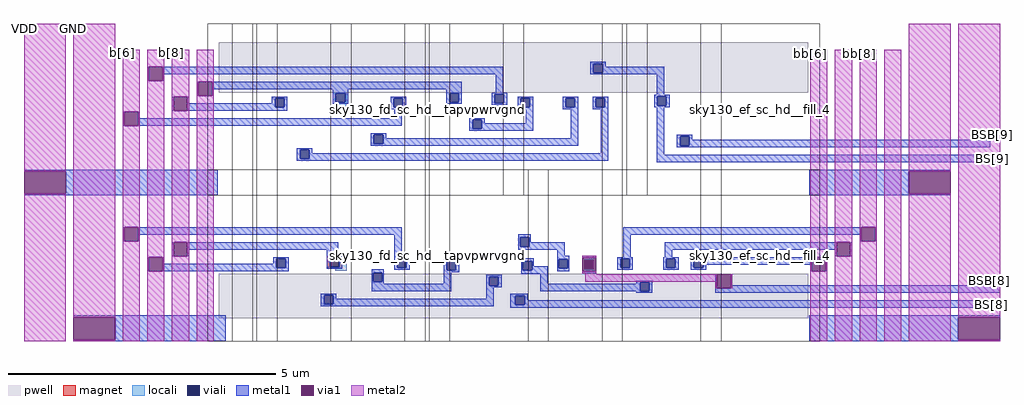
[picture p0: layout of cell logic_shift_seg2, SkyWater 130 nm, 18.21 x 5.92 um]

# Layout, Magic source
magic
tech sky130A
magscale 1 2
<< magnet >>
rect 5029 -3512 5087 -3466
<< pwell >>
rect 4625 -2855 6825 -2667
rect 4625 -3696 6825 -3531
<< locali >>
rect 5058 -2891 5063 -2857
rect 5097 -2891 5104 -2857
rect 5058 -2892 5104 -2891
rect 5058 -2911 5102 -2892
rect 5061 -3472 5103 -3469
rect 5075 -3506 5103 -3472
rect 5061 -3519 5103 -3506
<< viali >>
rect 6024 -2780 6058 -2746
rect 4836 -2910 4870 -2876
rect 5063 -2891 5097 -2857
rect 5279 -2910 5313 -2876
rect 5487 -2891 5521 -2857
rect 5656 -2895 5690 -2861
rect 5753 -2910 5787 -2876
rect 5921 -2910 5955 -2876
rect 6033 -2910 6067 -2876
rect 6262 -2903 6296 -2869
rect 5573 -2990 5607 -2956
rect 5205 -3046 5239 -3012
rect 6347 -3052 6381 -3018
rect 4929 -3102 4963 -3068
rect 5750 -3429 5784 -3395
rect 4841 -3509 4875 -3475
rect 5041 -3506 5075 -3472
rect 5292 -3509 5326 -3475
rect 5477 -3518 5511 -3484
rect 5761 -3518 5795 -3484
rect 5894 -3510 5928 -3476
rect 5990 -3513 6024 -3479
rect 6125 -3509 6159 -3475
rect 6296 -3509 6330 -3475
rect 6399 -3509 6433 -3475
rect 5202 -3560 5236 -3526
rect 5635 -3575 5669 -3541
rect 6198 -3596 6232 -3562
rect 5019 -3645 5053 -3611
rect 5733 -3647 5767 -3613
<< metal1 >>
rect 6012 -2746 6070 -2740
rect 4359 -2810 4365 -2758
rect 4417 -2786 5687 -2758
rect 6012 -2780 6024 -2746
rect 6058 -2758 6070 -2746
rect 6058 -2780 6289 -2758
rect 6012 -2786 6289 -2780
rect 4417 -2810 4423 -2786
rect 4543 -2866 4549 -2814
rect 4601 -2842 5533 -2814
rect 4601 -2866 4607 -2842
rect 5051 -2857 5109 -2842
rect 4451 -2922 4457 -2870
rect 4509 -2894 4515 -2870
rect 4824 -2876 4882 -2870
rect 4824 -2894 4836 -2876
rect 4509 -2910 4836 -2894
rect 4870 -2910 4882 -2876
rect 5051 -2891 5063 -2857
rect 5097 -2891 5109 -2857
rect 5475 -2857 5533 -2842
rect 5659 -2855 5687 -2786
rect 5051 -2897 5109 -2891
rect 5267 -2876 5325 -2870
rect 4509 -2922 4882 -2910
rect 5267 -2910 5279 -2876
rect 5313 -2910 5325 -2876
rect 5475 -2891 5487 -2857
rect 5521 -2891 5533 -2857
rect 5475 -2897 5533 -2891
rect 5644 -2861 5702 -2855
rect 5644 -2895 5656 -2861
rect 5690 -2895 5702 -2861
rect 6261 -2863 6289 -2786
rect 6250 -2869 6308 -2863
rect 5644 -2901 5702 -2895
rect 5741 -2876 5799 -2870
rect 5267 -2916 5325 -2910
rect 5741 -2910 5753 -2876
rect 5787 -2910 5799 -2876
rect 5741 -2916 5799 -2910
rect 5909 -2876 5967 -2870
rect 5909 -2910 5921 -2876
rect 5955 -2910 5967 -2876
rect 5909 -2916 5967 -2910
rect 6021 -2876 6079 -2870
rect 6021 -2910 6033 -2876
rect 6067 -2910 6079 -2876
rect 6250 -2903 6262 -2869
rect 6296 -2903 6308 -2869
rect 6250 -2909 6308 -2903
rect 6021 -2916 6079 -2910
rect 4267 -2978 4273 -2926
rect 4325 -2950 4331 -2926
rect 5281 -2950 5309 -2916
rect 4325 -2978 5309 -2950
rect 5561 -2956 5619 -2950
rect 5561 -2990 5573 -2956
rect 5607 -2968 5619 -2956
rect 5771 -2968 5799 -2916
rect 5607 -2990 5799 -2968
rect 5561 -2996 5799 -2990
rect 5193 -3012 5251 -3006
rect 5193 -3046 5205 -3012
rect 5239 -3024 5251 -3012
rect 5939 -3024 5967 -2916
rect 5239 -3046 5967 -3024
rect 5193 -3052 5967 -3046
rect 4917 -3068 4975 -3062
rect 4917 -3102 4929 -3068
rect 4963 -3080 4975 -3068
rect 6051 -3080 6079 -2916
rect 4963 -3102 6079 -3080
rect 4917 -3108 6079 -3102
rect 6260 -3086 6288 -2909
rect 6335 -3018 6393 -3012
rect 6335 -3052 6347 -3018
rect 6381 -3030 6393 -3018
rect 7477 -3026 7541 -2998
rect 7477 -3030 7505 -3026
rect 6381 -3052 7505 -3030
rect 6335 -3058 7505 -3052
rect 6260 -3114 7541 -3086
rect 3899 -3148 4622 -3142
rect 4055 -3232 4622 -3148
rect 3899 -3238 4622 -3232
rect 6830 -3148 7357 -3142
rect 6830 -3232 7201 -3148
rect 6830 -3238 7357 -3232
rect 4267 -3409 4273 -3357
rect 4325 -3385 5308 -3357
rect 4325 -3409 4331 -3385
rect 4451 -3465 4457 -3413
rect 4509 -3441 5072 -3413
rect 4509 -3465 4515 -3441
rect 5029 -3466 5072 -3441
rect 4359 -3521 4365 -3469
rect 4417 -3493 4423 -3469
rect 4829 -3475 4887 -3469
rect 4829 -3493 4841 -3475
rect 4417 -3509 4841 -3493
rect 4875 -3509 4887 -3475
rect 4417 -3521 4887 -3509
rect 5029 -3472 5087 -3466
rect 5029 -3506 5041 -3472
rect 5075 -3506 5087 -3472
rect 5029 -3512 5087 -3506
rect 5280 -3469 5308 -3385
rect 5744 -3395 5790 -3383
rect 5744 -3429 5750 -3395
rect 5784 -3413 5790 -3395
rect 6136 -3385 7023 -3357
rect 5784 -3429 5916 -3413
rect 5744 -3441 5916 -3429
rect 5888 -3464 5916 -3441
rect 5280 -3475 5338 -3469
rect 5280 -3509 5292 -3475
rect 5326 -3509 5338 -3475
rect 5196 -3526 5242 -3514
rect 5280 -3515 5338 -3509
rect 5465 -3484 5523 -3478
rect 5196 -3560 5202 -3526
rect 5236 -3560 5242 -3526
rect 5196 -3567 5242 -3560
rect 5465 -3518 5477 -3484
rect 5511 -3518 5523 -3484
rect 5465 -3524 5523 -3518
rect 5755 -3484 5801 -3472
rect 5755 -3518 5761 -3484
rect 5795 -3502 5801 -3484
rect 5888 -3476 5934 -3464
rect 5795 -3518 5854 -3502
rect 5465 -3567 5493 -3524
rect 5755 -3530 5854 -3518
rect 5888 -3510 5894 -3476
rect 5928 -3510 5934 -3476
rect 5888 -3522 5934 -3510
rect 5982 -3470 6034 -3464
rect 6136 -3469 6164 -3385
rect 7017 -3409 7023 -3385
rect 7075 -3409 7081 -3357
rect 6290 -3441 6931 -3413
rect 6290 -3469 6318 -3441
rect 6925 -3465 6931 -3441
rect 6983 -3465 6989 -3413
rect 6113 -3475 6171 -3469
rect 6113 -3509 6125 -3475
rect 6159 -3509 6171 -3475
rect 6113 -3515 6171 -3509
rect 6284 -3475 6342 -3469
rect 6284 -3509 6296 -3475
rect 6330 -3509 6342 -3475
rect 6284 -3515 6342 -3509
rect 6387 -3475 6839 -3469
rect 6387 -3509 6399 -3475
rect 6433 -3497 6839 -3475
rect 6433 -3509 6445 -3497
rect 6387 -3515 6445 -3509
rect 6833 -3521 6839 -3497
rect 6891 -3521 6897 -3469
rect 5982 -3528 6034 -3522
rect 5196 -3595 5493 -3567
rect 5623 -3541 5681 -3535
rect 5623 -3575 5635 -3541
rect 5669 -3575 5681 -3541
rect 5623 -3581 5681 -3575
rect 5826 -3567 5854 -3530
rect 6184 -3562 6244 -3556
rect 6184 -3567 6198 -3562
rect 5007 -3611 5065 -3605
rect 5007 -3645 5019 -3611
rect 5053 -3623 5065 -3611
rect 5623 -3623 5651 -3581
rect 5826 -3595 6198 -3567
rect 6184 -3596 6198 -3595
rect 6232 -3596 6244 -3562
rect 6184 -3602 6244 -3596
rect 6478 -3584 6484 -3532
rect 6536 -3574 6542 -3532
rect 7489 -3574 7541 -3542
rect 6536 -3584 7541 -3574
rect 6478 -3602 7541 -3584
rect 5053 -3645 5651 -3623
rect 5007 -3651 5651 -3645
rect 5714 -3613 5779 -3606
rect 5714 -3647 5733 -3613
rect 5767 -3630 5779 -3613
rect 5767 -3647 7541 -3630
rect 5714 -3658 7541 -3647
rect 4083 -3692 4651 -3686
rect 4239 -3776 4651 -3692
rect 4083 -3782 4651 -3776
rect 6830 -3692 7541 -3686
rect 6830 -3776 7385 -3692
rect 6830 -3782 7541 -3776
<< via1 >>
rect 4365 -2810 4417 -2758
rect 4549 -2866 4601 -2814
rect 4457 -2922 4509 -2870
rect 4273 -2978 4325 -2926
rect 3899 -3232 4055 -3148
rect 7201 -3232 7357 -3148
rect 4273 -3409 4325 -3357
rect 4457 -3465 4509 -3413
rect 4365 -3521 4417 -3469
rect 7023 -3409 7075 -3357
rect 6931 -3465 6983 -3413
rect 5982 -3479 6034 -3470
rect 5982 -3513 5990 -3479
rect 5990 -3513 6024 -3479
rect 6024 -3513 6034 -3479
rect 5982 -3522 6034 -3513
rect 6839 -3521 6891 -3469
rect 6484 -3584 6536 -3532
rect 4083 -3776 4239 -3692
rect 7385 -3776 7541 -3692
<< metal2 >>
rect 3899 -3148 4055 -2598
rect 3899 -3782 4055 -3232
rect 4083 -3692 4239 -2598
rect 4083 -3782 4239 -3776
rect 4267 -2926 4331 -2694
rect 4267 -2978 4273 -2926
rect 4325 -2978 4331 -2926
rect 4267 -3357 4331 -2978
rect 4267 -3409 4273 -3357
rect 4325 -3409 4331 -3357
rect 4267 -3782 4331 -3409
rect 4359 -2758 4423 -2694
rect 4359 -2810 4365 -2758
rect 4417 -2810 4423 -2758
rect 4359 -3469 4423 -2810
rect 4359 -3521 4365 -3469
rect 4417 -3521 4423 -3469
rect 4359 -3782 4423 -3521
rect 4451 -2870 4515 -2694
rect 4451 -2922 4457 -2870
rect 4509 -2922 4515 -2870
rect 4451 -3413 4515 -2922
rect 4451 -3465 4457 -3413
rect 4509 -3465 4515 -3413
rect 4451 -3782 4515 -3465
rect 4543 -2814 4607 -2694
rect 4543 -2866 4549 -2814
rect 4601 -2866 4607 -2814
rect 4543 -3782 4607 -2866
rect 5982 -3470 6034 -3464
rect 5982 -3528 6034 -3522
rect 5994 -3532 6034 -3528
rect 6833 -3469 6897 -2694
rect 6833 -3521 6839 -3469
rect 6891 -3521 6897 -3469
rect 5994 -3560 6484 -3532
rect 6478 -3584 6484 -3560
rect 6536 -3584 6542 -3532
rect 6833 -3782 6897 -3521
rect 6925 -3413 6989 -2694
rect 6925 -3465 6931 -3413
rect 6983 -3465 6989 -3413
rect 6925 -3782 6989 -3465
rect 7017 -3357 7081 -2694
rect 7017 -3409 7023 -3357
rect 7075 -3409 7081 -3357
rect 7017 -3782 7081 -3409
rect 7109 -3782 7173 -2694
rect 7201 -3148 7357 -2598
rect 7201 -3782 7357 -3232
rect 7385 -3692 7541 -2598
rect 7385 -3782 7541 -3776
use sky130_ef_sc_hd__fill_4  sky130_ef_sc_hd__fill_4_0 ~/pdk/sky130A/libs.ref/sky130_fd_sc_hd/mag
transform 1 0 6462 0 -1 -2646
box -38 -48 406 592
use sky130_ef_sc_hd__fill_4  sky130_ef_sc_hd__fill_4_1
transform -1 0 6830 0 1 -3734
box -38 -48 406 592
use sky130_fd_sc_hd__tapvpwrvgnd_1  sky130_fd_sc_hd__tapvpwrvgnd_1_0 ~/pdk/sky130A/libs.ref/sky130_fd_sc_hd/mag
transform 1 0 5358 0 -1 -2646
box -38 -48 130 592
use sky130_fd_sc_hd__tapvpwrvgnd_1  sky130_fd_sc_hd__tapvpwrvgnd_1_1
transform 1 0 6094 0 -1 -2646
box -38 -48 130 592
use sky130_fd_sc_hd__tapvpwrvgnd_1  sky130_fd_sc_hd__tapvpwrvgnd_1_2
transform 1 0 5358 0 1 -3734
box -38 -48 130 592
use sky130_fd_sc_hd__tapvpwrvgnd_1  sky130_fd_sc_hd__tapvpwrvgnd_1_3
transform 1 0 4714 0 -1 -2646
box -38 -48 130 592
use sky130_fd_sc_hd__tapvpwrvgnd_1  sky130_fd_sc_hd__tapvpwrvgnd_1_4
transform 1 0 4622 0 -1 -2646
box -38 -48 130 592
use sky130_fd_sc_hd__tapvpwrvgnd_1  sky130_fd_sc_hd__tapvpwrvgnd_1_5
transform 1 0 4622 0 1 -3734
box -38 -48 130 592
use sky130_fd_sc_hd__tapvpwrvgnd_1  sky130_fd_sc_hd__tapvpwrvgnd_1_6
transform 1 0 4714 0 1 -3734
box -38 -48 130 592
use sky130_fd_sc_hd__nand2_1  x1 ~/pdk/sky130A/libs.ref/sky130_fd_sc_hd/mag
transform 1 0 4806 0 -1 -2646
box -38 -48 314 592
use sky130_fd_sc_hd__nand2_1  x2
transform 1 0 5082 0 -1 -2646
box -38 -48 314 592
use sky130_fd_sc_hd__nand2_1  x3
transform 1 0 5450 0 -1 -2646
box -38 -48 314 592
use sky130_fd_sc_hd__nand3_1  x4 ~/pdk/sky130A/libs.ref/sky130_fd_sc_hd/mag
transform 1 0 5726 0 -1 -2646
box -38 -48 406 592
use sky130_fd_sc_hd__nand3_1  x5
transform 1 0 5450 0 1 -3734
box -38 -48 406 592
use sky130_fd_sc_hd__nand2_1  x6
transform 1 0 4806 0 1 -3734
box -38 -48 314 592
use sky130_fd_sc_hd__nand2_1  x7
transform 1 0 5082 0 1 -3734
box -38 -48 314 592
use sky130_fd_sc_hd__nand3_1  x8
transform 1 0 6094 0 1 -3734
box -38 -48 406 592
use sky130_fd_sc_hd__inv_1  x9 ~/pdk/sky130A/libs.ref/sky130_fd_sc_hd/mag
transform 1 0 6186 0 -1 -2646
box -38 -48 314 592
use sky130_fd_sc_hd__inv_1  x10
transform 1 0 5818 0 1 -3734
box -38 -48 314 592
<< labels >>
flabel metal2 s 4267 -2704 4267 -2704 3 FreeSans 320 0 0 0 b[6]
port 0 e
flabel metal2 s 4359 -2704 4359 -2704 3 FreeSans 320 0 0 0 b[7]
port 1 e
flabel metal2 s 4451 -2704 4451 -2704 3 FreeSans 320 0 0 0 b[8]
port 2 e
flabel metal2 s 4543 -2704 4543 -2704 3 FreeSans 320 0 0 0 b[9]
port 3 e
flabel metal2 s 6833 -2707 6833 -2707 3 FreeSans 240 0 0 0 bb[6]
port 4 e
flabel metal2 s 6925 -2707 6925 -2707 3 FreeSans 240 0 0 0 bb[7]
port 5 e
flabel metal2 s 7017 -2707 7017 -2707 3 FreeSans 240 0 0 0 bb[8]
port 6 e
flabel metal2 s 3900 -2614 3900 -2614 3 FreeSans 240 0 0 0 VDD
port 11 e
flabel metal2 s 4085 -2614 4085 -2614 3 FreeSans 240 0 0 0 GND
port 12 e
flabel metal1 s 7501 -3557 7501 -3557 3 FreeSans 240 0 0 0 BSB[8]
port 9 e
flabel metal1 s 7508 -3646 7508 -3646 3 FreeSans 240 0 0 0 BS[8]
port 7 e
flabel metal1 s 7512 -3100 7512 -3100 3 FreeSans 240 0 0 0 BS[9]
port 8 e
flabel metal1 s 7513 -3011 7513 -3011 3 FreeSans 240 0 0 0 BSB[9]
port 10 e
<< end >>
